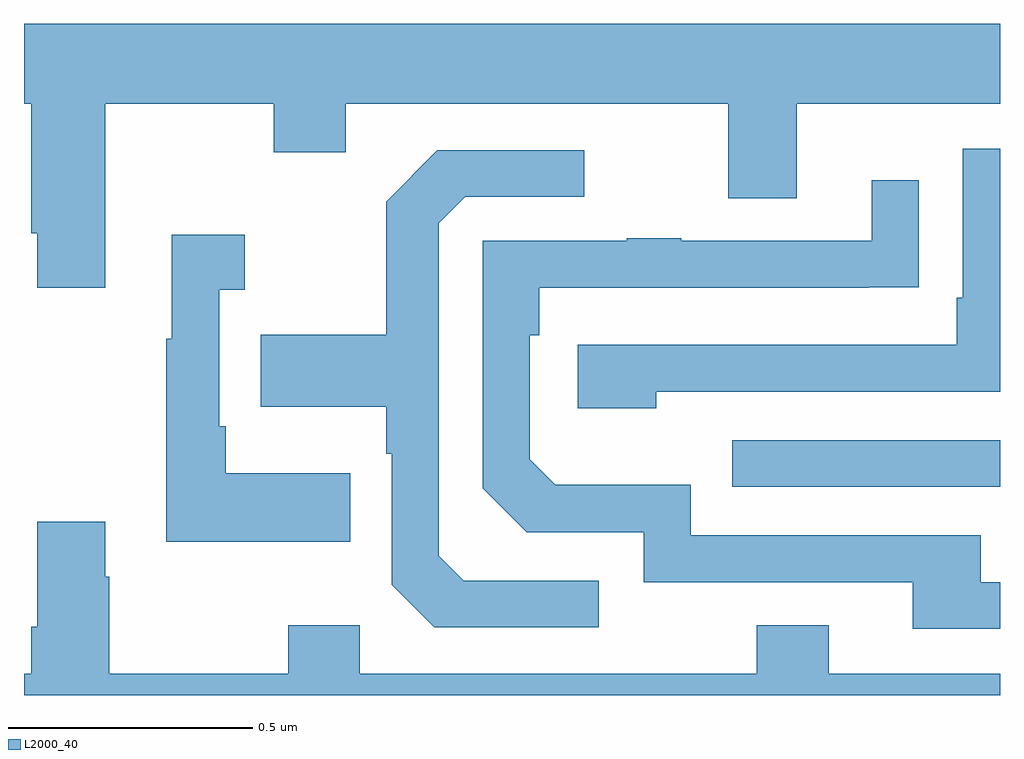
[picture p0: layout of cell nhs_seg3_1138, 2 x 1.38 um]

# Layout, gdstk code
import gdstk
lib = gdstk.Library(unit=1e-6, precision=1e-09)
def R(c, l, rs):  # rectangles x0, y0, x1, y1
    for r in rs: c.add(gdstk.rectangle(r[:2], r[2:], *l))
def P(c, l, *ps):  # polygons
    for p in ps: c.add(gdstk.Polygon(p, *l))
L2000_40 = (2000, 40)

nhs_seg3_1138 = lib.new_cell('nhs_seg3_1138')
R(nhs_seg3_1138, L2000_40, [(126.451,670.827,127,670.923)])
P(nhs_seg3_1138, L2000_40, [(125.167,671.612),(125.512,671.612),(125.512,671.513),(125.659,671.513),(125.659,671.612),(126.443,671.612),(126.443,671.418),(126.583,671.418),(126.583,671.612),(127,671.612),(127,671.776),(125,671.776),(125,671.612),(125.015,671.612),(125.015,671.347),(125.027,671.347),(125.027,671.235),(125.167,671.235)],
  [(126.296,671.022),(127,671.022),(127,671.52),(126.924,671.52),(126.924,671.215),(126.911,671.215),(126.911,671.118),(126.135,671.118),(126.135,670.988),(126.296,670.988)],
  [(126.178,670.635),(125.901,670.635),(125.85,670.686),(125.85,671.367),(125.904,671.421),(126.148,671.421),(126.148,671.517),(125.847,671.517),(125.742,671.411),(125.742,671.139),(125.485,671.139),(125.485,670.991),(125.742,670.991),(125.742,670.895),(125.754,670.895),(125.754,670.626),(125.841,670.539),(126.178,670.539)],
  [(127,670.632),(126.961,670.632),(126.961,670.728),(126.366,670.728),(126.366,670.831),(126.089,670.831),(126.036,670.884),(126.036,671.138),(126.056,671.138),(126.056,671.235),(126.731,671.235),(126.731,671.236),(126.833,671.236),(126.833,671.455),(126.737,671.455),(126.737,671.331),(126.347,671.331),(126.347,671.336),(126.235,671.336),(126.235,671.331),(125.94,671.331),(125.94,670.824),(126.03,670.734),(126.27,670.734),(126.27,670.632),(126.821,670.632),(126.821,670.536),(127,670.536)],
  [(125.669,670.855),(125.413,670.855),(125.413,670.951),(125.4,670.951),(125.4,671.231),(125.452,671.231),(125.452,671.344),(125.303,671.344),(125.303,671.131),(125.292,671.131),(125.292,670.715),(125.669,670.715)],
  [(127,670.444),(126.649,670.444),(126.649,670.543),(126.502,670.543),(126.502,670.444),(125.688,670.444),(125.688,670.543),(125.542,670.543),(125.542,670.444),(125.175,670.444),(125.175,670.643),(125.167,670.643),(125.167,670.756),(125.027,670.756),(125.027,670.54),(125.015,670.54),(125.015,670.444),(125,670.444),(125,670.4),(127,670.4)])

lib.write_gds('nhs_seg3_1138.gds')
